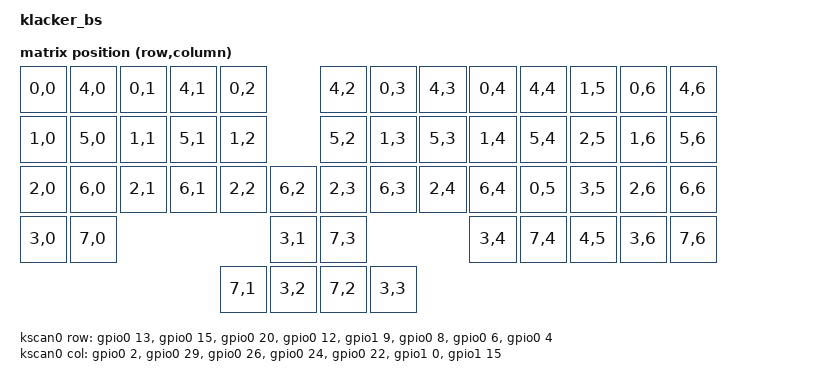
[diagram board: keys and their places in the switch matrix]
/*
 * Copyright (c) 2022 @weteor
 *
 * SPDX-License-Identifier: MIT
 */

/dts-v1/;
#include <nordic/nrf52840_qiaa.dtsi>
#include <dt-bindings/zmk/matrix_transform.h>

/ {
	model = "klacker_bs";
	compatible = "weteor,klacker_bs";

	chosen {
		zephyr,code-partition = &code_partition;
		zephyr,sram = &sram0;
		zephyr,flash = &flash0;
		zmk,kscan = &kscan0;
		zmk,matrix_transform = &default_transform;
	};

	default_transform: keymap_transform_0 {
		compatible = "zmk,matrix-transform";
		rows = <8>;
		columns = <7>;
		map = <
		RC(0,0) RC(4,0) RC(0,1) RC(4,1) RC(0,2)                 RC(4,2) RC(0,3) RC(4,3) RC(0,4) RC(4,4)     RC(1,5) RC(0,6) RC(4,6)
		RC(1,0) RC(5,0) RC(1,1) RC(5,1) RC(1,2) 	            RC(5,2) RC(1,3) RC(5,3) RC(1,4) RC(5,4)     RC(2,5) RC(1,6) RC(5,6)
		RC(2,0) RC(6,0) RC(2,1) RC(6,1) RC(2,2)     RC(6,2)     RC(2,3) RC(6,3) RC(2,4) RC(6,4) RC(0,5)     RC(3,5) RC(2,6) RC(6,6)
		RC(3,0) RC(7,0)                         RC(3,1) RC(7,3)                         RC(3,4) RC(7,4)     RC(4,5) RC(3,6) RC(7,6)
		                                RC(7,1) RC(3,2) RC(7,2) RC(3,3)
		>;
	};

	kscan0: kscan {
		compatible = "zmk,kscan-gpio-matrix";
		label = "KSCAN";
        
        debounce-period = <6>;

		diode-direction = "col2row";
		col-gpios
			= <&gpio0  2 GPIO_ACTIVE_HIGH>
			, <&gpio0 29 GPIO_ACTIVE_HIGH>
			, <&gpio0 26 GPIO_ACTIVE_HIGH>
			, <&gpio0 24 GPIO_ACTIVE_HIGH>
			, <&gpio0 22 GPIO_ACTIVE_HIGH>
			, <&gpio1  0 GPIO_ACTIVE_HIGH>
			, <&gpio1 15 GPIO_ACTIVE_HIGH>
			;
		row-gpios
			= <&gpio0 13 (GPIO_ACTIVE_HIGH | GPIO_PULL_DOWN)>
			, <&gpio0 15 (GPIO_ACTIVE_HIGH | GPIO_PULL_DOWN)>
			, <&gpio0 20 (GPIO_ACTIVE_HIGH | GPIO_PULL_DOWN)>
			, <&gpio0 12 (GPIO_ACTIVE_HIGH | GPIO_PULL_DOWN)>
			, <&gpio1  9 (GPIO_ACTIVE_HIGH | GPIO_PULL_DOWN)>
			, <&gpio0  8 (GPIO_ACTIVE_HIGH | GPIO_PULL_DOWN)>
			, <&gpio0  6 (GPIO_ACTIVE_HIGH | GPIO_PULL_DOWN)>
			, <&gpio0  4 (GPIO_ACTIVE_HIGH | GPIO_PULL_DOWN)>
			;
	};

	vbatt {
		compatible = "zmk,battery-voltage-divider";		label = "BATTERY";
		io-channels = <&adc 7>;
		output-ohms = <2000000>;
		full-ohms = <(2000000 + 820000)>;
	};
};

&adc {
	status = "okay";
};

&gpiote {
	status = "okay";
};

&gpio0 {
	status = "okay";
};

&gpio1 {
	status = "okay";
};

&usbd {
	status = "okay";
};

&flash0 {
	/*
	 * For more information, see:
	 * http://docs.zephyrproject.org/latest/devices/dts/flash_partitions.html
	 */
	partitions {
		compatible = "fixed-partitions";
		#address-cells = <1>;
		#size-cells = <1>;

		sd_partition: partition@0 {
			label = "mbr";
			reg = <0x00000000 0x00001000>;
		};
		code_partition: partition@1000 {
			label = "code_partition";
			reg = <0x00001000 0x000d3000>;
		};

		storage_partition: partition@d4000 {
			label = "storage";
			reg = <0x000d4000 0x00020000>;
		};

		boot_partition: partition@f4000 {
			label = "adafruit_boot";
			reg = <0x000f4000 0x0000c000>;
		};
	};
};

